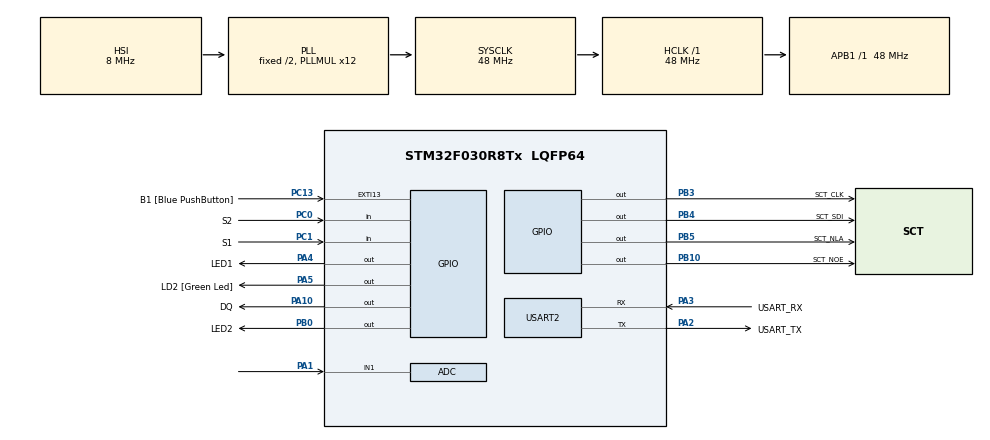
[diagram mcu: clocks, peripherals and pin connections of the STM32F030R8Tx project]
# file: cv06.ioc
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ADC.ContinuousConvMode=ENABLE
ADC.Overrun=ADC_OVR_DATA_OVERWRITTEN
ADC.Resolution=ADC_RESOLUTION_10B
Mcu.Family=STM32F0
Mcu.Name=STM32F030R8Tx
Mcu.Package=LQFP64
PA1.Mode=IN1
PA1.Signal=ADC_IN1
PA10.GPIO_Label=DQ
PA10.GPIO_ModeDefaultOutputPP=GPIO_MODE_OUTPUT_OD
PA10.GPIO_PuPd=GPIO_NOPULL
PA10.PinState=GPIO_PIN_SET
PA10.Signal=GPIO_Output
PA13.GPIO_Label=TMS
PA13.Mode=Serial_Wire
PA13.Signal=SYS_SWDIO
PA14.GPIO_Label=TCK
PA14.Mode=Serial_Wire
PA14.Signal=SYS_SWCLK
PA2.GPIO_Label=USART_TX
PA2.GPIO_Mode=GPIO_MODE_AF_PP
PA2.GPIO_PuPd=GPIO_NOPULL
PA2.GPIO_Speed=GPIO_SPEED_FREQ_LOW
PA2.Mode=Asynchronous
PA2.Signal=USART2_TX
PA3.GPIO_Label=USART_RX
PA3.GPIO_Mode=GPIO_MODE_AF_PP
PA3.GPIO_PuPd=GPIO_NOPULL
PA3.GPIO_Speed=GPIO_SPEED_FREQ_LOW
PA3.Mode=Asynchronous
PA3.Signal=USART2_RX
PA4.GPIO_Label=LED1
PA4.Signal=GPIO_Output
PA5.GPIO_Label=LD2 [Green Led]
PA5.GPIO_Mode=GPIO_MODE_OUTPUT_PP
PA5.GPIO_PuPd=GPIO_NOPULL
PA5.GPIO_Speed=GPIO_SPEED_FREQ_LOW
PA5.Signal=GPIO_Output
PB0.GPIO_Label=LED2
PB0.Signal=GPIO_Output
PB10.GPIO_Label=SCT_NOE
PB10.Signal=GPIO_Output
PB3.GPIO_Label=SCT_CLK
PB3.Signal=GPIO_Output
PB4.GPIO_Label=SCT_SDI
PB4.Signal=GPIO_Output
PB5.GPIO_Label=SCT_NLA
PB5.Signal=GPIO_Output
PC0.GPIO_Label=S2
PC0.GPIO_PuPd=GPIO_PULLUP
PC0.Signal=GPIO_Input
PC1.GPIO_Label=S1
PC1.GPIO_PuPd=GPIO_PULLUP
PC1.Signal=GPIO_Input
PC13.GPIO_Label=B1 [Blue PushButton]
PC13.GPIO_ModeDefaultEXTI=GPIO_MODE_IT_FALLING
PC13.Signal=GPXTI13
PC14-OSC32_IN.Mode=LSE-External-Oscillator
PC14-OSC32_IN.Signal=RCC_OSC32_IN
PC15-OSC32_OUT.Mode=LSE-External-Oscillator
PC15-OSC32_OUT.Signal=RCC_OSC32_OUT
PF0-OSC_IN.Mode=HSE-External-Clock-Source
PF0-OSC_IN.Signal=RCC_OSC_IN
PF1-OSC_OUT.Signal=RCC_OSC_OUT
ProjectManager.HeapSize=0x200
ProjectManager.StackSize=0x400
ProjectManager.TargetToolchain=STM32CubeIDE
RCC.AHBFreq_Value=48000000
RCC.APB1Freq_Value=48000000
RCC.APB1TimFreq_Value=48000000
RCC.HCLKFreq_Value=48000000
RCC.PLLMUL=RCC_PLL_MUL12
RCC.SYSCLKFreq_VALUE=48000000
RCC.SYSCLKSource=RCC_SYSCLKSOURCE_PLLCLK
USART2.VirtualMode-Asynchronous=VM_ASYNC
board=NUCLEO-F030R8

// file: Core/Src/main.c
/* USER CODE BEGIN Header */
/**
  ******************************************************************************
  * @file           : main.c
  * @brief          : Main program body
  ******************************************************************************
  * @attention
  *
  * Copyright (c) 2022 STMicroelectronics.
  * All rights reserved.
  *
  * This software is licensed under terms that can be found in the LICENSE file
  * in the root directory of this software component.
  * If no LICENSE file comes with this software, it is provided AS-IS.
  *
  ******************************************************************************
  */
/* USER CODE END Header */
#include "main.h"

/* USER CODE BEGIN Includes */

#include "1wire.h"
#include "sct.h"
#include "data.h"

/* USER CODE END Includes */

/* USER CODE BEGIN PD */

#define DISPLAY_PERIOD 50;

/* USER CODE END PD */

ADC_HandleTypeDef hadc;

UART_HandleTypeDef huart2;

void SystemClock_Config(void);
static void MX_GPIO_Init(void);
static void MX_USART2_UART_Init(void);
static void MX_ADC_Init(void);

int main(void)
{

  /* MCU Configuration--------------------------------------------------------*/

  /* Reset of all peripherals, Initializes the Flash interface and the Systick. */
  HAL_Init();

  /* Configure the system clock */
  SystemClock_Config();

  /* Initialize all configured peripherals */
  MX_GPIO_Init();
  MX_USART2_UART_Init();
  MX_ADC_Init();
  /* USER CODE BEGIN 2 */

  sct_init();
  OWInit();

  HAL_ADCEx_Calibration_Start(&hadc);
  HAL_ADC_Start(&hadc);

  /* USER CODE END 2 */

  /* Infinite loop */
	while (1) {

		/* USER CODE BEGIN 3 */
		/*OWConvertAll();
		HAL_Delay(CONVERT_T_DELAY);
		int16_t temp_18b20;
		OWReadTemperature(&temp_18b20);
		sct_value(temp_18b20 / 10, 0);
*/
		//int16_t tempNTC = NTC_LOOKUP_TABLE[adc];

		// sct_value(NTC_LOOKUP_TABLE[HAL_ADC_GetValue(&hadc)], 0); //0 je pridana z duvodu nerosviceni LED

		// HAL_Delay(750);
		int16_t temp_18b20;

		static uint32_t lastMeasurementTicks = 0;
		static uint32_t lastDisplayTicks = 0;
		static uint8_t counter = 0; // zalozeni promenne 0
		static int16_t ntc_value = 0;

		static enum {SHOW_Meas,SHOW_NTC} state = SHOW_Meas; //stavovy automat

		if (HAL_GetTick() >= lastMeasurementTicks + 750) {
			lastMeasurementTicks = HAL_GetTick();
			OWConvertAll(); // probehne if

			if (counter >= 1) {
				OWReadTemperature(&temp_18b20); // v prvnim kroku neni vetsi, vykona se else
				counter = 0;
			}
			else {
				counter++;
			}
			ntc_value = DISPLAY_PERIOD(NTC_LOOKUP_TABLE[HAL_ADC_GetValue(&hadc)]);

		}
		if (HAL_GetTick() >= lastDisplayTicks + 50) { //cteni tlacitek
			lastDisplayTicks = HAL_GetTick();

			if (!HAL_GPIO_ReadPin(GPIOC, S1_Pin)) {
				state = SHOW_Meas;

			}

			else if (!HAL_GPIO_ReadPin(GPIOC, S2_Pin)) {
				state = SHOW_NTC;

			}
			switch (state) {
			case SHOW_Meas:
				//sct_value();
				HAL_GPIO_WritePin(LED1_GPIO_Port, LED1_Pin, GPIO_PIN_RESET);
				HAL_GPIO_WritePin(LED2_GPIO_Port, LED2_Pin, GPIO_PIN_SET);
				sct_value(temp_18b20 / 10, 0);

				break;

			case SHOW_NTC:
				HAL_GPIO_WritePin(LED1_GPIO_Port, LED1_Pin, GPIO_PIN_SET);
				HAL_GPIO_WritePin(LED2_GPIO_Port, LED2_Pin, GPIO_PIN_RESET);
				sct_value(ntc_value, 0);

				break;

			default:
				state = SHOW_NTC;
			}

		}

	}
  /* USER CODE END 3 */
}

void SystemClock_Config(void)
{
  RCC_OscInitTypeDef RCC_OscInitStruct = {0};
  RCC_ClkInitTypeDef RCC_ClkInitStruct = {0};

  /** Initializes the RCC Oscillators according to the specified parameters
  * in the RCC_OscInitTypeDef structure.
  */
  RCC_OscInitStruct.OscillatorType = RCC_OSCILLATORTYPE_HSI|RCC_OSCILLATORTYPE_HSI14;
  RCC_OscInitStruct.HSIState = RCC_HSI_ON;
  RCC_OscInitStruct.HSI14State = RCC_HSI14_ON;
  RCC_OscInitStruct.HSICalibrationValue = RCC_HSICALIBRATION_DEFAULT;
  RCC_OscInitStruct.HSI14CalibrationValue = 16;
  RCC_OscInitStruct.PLL.PLLState = RCC_PLL_ON;
  RCC_OscInitStruct.PLL.PLLSource = RCC_PLLSOURCE_HSI;
  RCC_OscInitStruct.PLL.PLLMUL = RCC_PLL_MUL12;
  RCC_OscInitStruct.PLL.PREDIV = RCC_PREDIV_DIV1;
  if (HAL_RCC_OscConfig(&RCC_OscInitStruct) != HAL_OK)
  {
    Error_Handler();
  }

  /** Initializes the CPU, AHB and APB buses clocks
  */
  RCC_ClkInitStruct.ClockType = RCC_CLOCKTYPE_HCLK|RCC_CLOCKTYPE_SYSCLK
                              |RCC_CLOCKTYPE_PCLK1;
  RCC_ClkInitStruct.SYSCLKSource = RCC_SYSCLKSOURCE_PLLCLK;
  RCC_ClkInitStruct.AHBCLKDivider = RCC_SYSCLK_DIV1;
  RCC_ClkInitStruct.APB1CLKDivider = RCC_HCLK_DIV1;

  if (HAL_RCC_ClockConfig(&RCC_ClkInitStruct, FLASH_LATENCY_1) != HAL_OK)
  {
    Error_Handler();
  }
}

static void MX_ADC_Init(void)
{

  ADC_ChannelConfTypeDef sConfig = {0};

  /** Configure the global features of the ADC (Clock, Resolution, Data Alignment and number of conversion)
  */
  hadc.Instance = ADC1;
  hadc.Init.ClockPrescaler = ADC_CLOCK_ASYNC_DIV1;
  hadc.Init.Resolution = ADC_RESOLUTION_10B;
  hadc.Init.DataAlign = ADC_DATAALIGN_RIGHT;
  hadc.Init.ScanConvMode = ADC_SCAN_DIRECTION_FORWARD;
  hadc.Init.EOCSelection = ADC_EOC_SINGLE_CONV;
  hadc.Init.LowPowerAutoWait = DISABLE;
  hadc.Init.LowPowerAutoPowerOff = DISABLE;
  hadc.Init.ContinuousConvMode = ENABLE;
  hadc.Init.DiscontinuousConvMode = DISABLE;
  hadc.Init.ExternalTrigConv = ADC_SOFTWARE_START;
  hadc.Init.ExternalTrigConvEdge = ADC_EXTERNALTRIGCONVEDGE_NONE;
  hadc.Init.DMAContinuousRequests = DISABLE;
  hadc.Init.Overrun = ADC_OVR_DATA_OVERWRITTEN;
  if (HAL_ADC_Init(&hadc) != HAL_OK)
  {
    Error_Handler();
  }

  /** Configure for the selected ADC regular channel to be converted.
  */
  sConfig.Channel = ADC_CHANNEL_1;
  sConfig.Rank = ADC_RANK_CHANNEL_NUMBER;
  sConfig.SamplingTime = ADC_SAMPLETIME_1CYCLE_5;
  if (HAL_ADC_ConfigChannel(&hadc, &sConfig) != HAL_OK)
  {
    Error_Handler();
  }

}

static void MX_USART2_UART_Init(void)
{

  huart2.Instance = USART2;
  huart2.Init.BaudRate = 38400;
  huart2.Init.WordLength = UART_WORDLENGTH_8B;
  huart2.Init.StopBits = UART_STOPBITS_1;
  huart2.Init.Parity = UART_PARITY_NONE;
  huart2.Init.Mode = UART_MODE_TX_RX;
  huart2.Init.HwFlowCtl = UART_HWCONTROL_NONE;
  huart2.Init.OverSampling = UART_OVERSAMPLING_16;
  huart2.Init.OneBitSampling = UART_ONE_BIT_SAMPLE_DISABLE;
  huart2.AdvancedInit.AdvFeatureInit = UART_ADVFEATURE_NO_INIT;
  if (HAL_UART_Init(&huart2) != HAL_OK)
  {
    Error_Handler();
  }

}

static void MX_GPIO_Init(void)
{
  GPIO_InitTypeDef GPIO_InitStruct = {0};

  /* GPIO Ports Clock Enable */
  __HAL_RCC_GPIOC_CLK_ENABLE();
  __HAL_RCC_GPIOF_CLK_ENABLE();
  __HAL_RCC_GPIOA_CLK_ENABLE();
  __HAL_RCC_GPIOB_CLK_ENABLE();

  /*Configure GPIO pin Output Level */
  HAL_GPIO_WritePin(GPIOA, GPIO_PIN_4|GPIO_PIN_5, GPIO_PIN_RESET);

  /*Configure GPIO pin Output Level */
  HAL_GPIO_WritePin(GPIOB, GPIO_PIN_0|GPIO_PIN_10|GPIO_PIN_3|GPIO_PIN_4
                          |GPIO_PIN_5, GPIO_PIN_RESET);

  /*Configure GPIO pin Output Level */
  HAL_GPIO_WritePin(GPIOA, GPIO_PIN_10, GPIO_PIN_SET);

  /*Configure GPIO pin : PC13 */
  GPIO_InitStruct.Pin = GPIO_PIN_13;
  GPIO_InitStruct.Mode = GPIO_MODE_IT_FALLING;
  GPIO_InitStruct.Pull = GPIO_NOPULL;
  HAL_GPIO_Init(GPIOC, &GPIO_InitStruct);

  /*Configure GPIO pins : PC0 PC1 */
  GPIO_InitStruct.Pin = GPIO_PIN_0|GPIO_PIN_1;
  GPIO_InitStruct.Mode = GPIO_MODE_INPUT;
  GPIO_InitStruct.Pull = GPIO_PULLUP;
  HAL_GPIO_Init(GPIOC, &GPIO_InitStruct);

  /*Configure GPIO pins : PA4 PA5 */
  GPIO_InitStruct.Pin = GPIO_PIN_4|GPIO_PIN_5;
  GPIO_InitStruct.Mode = GPIO_MODE_OUTPUT_PP;
  GPIO_InitStruct.Pull = GPIO_NOPULL;
  GPIO_InitStruct.Speed = GPIO_SPEED_FREQ_LOW;
  HAL_GPIO_Init(GPIOA, &GPIO_InitStruct);

  /*Configure GPIO pins : PB0 PB10 PB3 PB4
                           PB5 */
  GPIO_InitStruct.Pin = GPIO_PIN_0|GPIO_PIN_10|GPIO_PIN_3|GPIO_PIN_4
                          |GPIO_PIN_5;
  GPIO_InitStruct.Mode = GPIO_MODE_OUTPUT_PP;
  GPIO_InitStruct.Pull = GPIO_NOPULL;
  GPIO_InitStruct.Speed = GPIO_SPEED_FREQ_LOW;
  HAL_GPIO_Init(GPIOB, &GPIO_InitStruct);

  /*Configure GPIO pin : PA10 */
  GPIO_InitStruct.Pin = GPIO_PIN_10;
  GPIO_InitStruct.Mode = GPIO_MODE_OUTPUT_OD;
  GPIO_InitStruct.Pull = GPIO_NOPULL;
  GPIO_InitStruct.Speed = GPIO_SPEED_FREQ_LOW;
  HAL_GPIO_Init(GPIOA, &GPIO_InitStruct);

}

void Error_Handler(void)
{
  __disable_irq();
  while (1)
  {
  }
}
